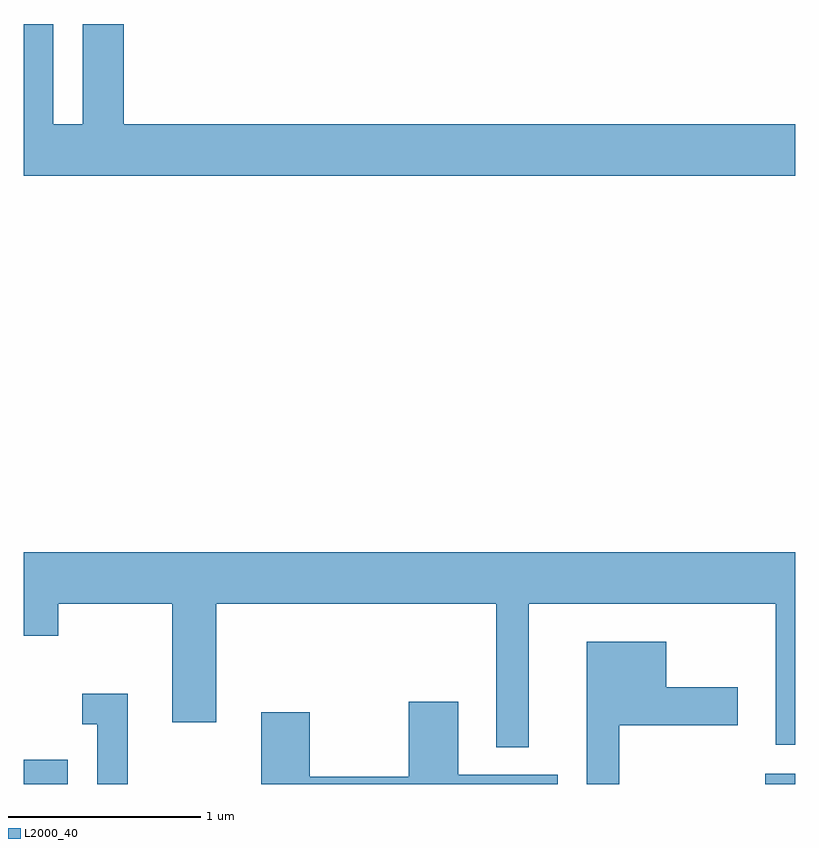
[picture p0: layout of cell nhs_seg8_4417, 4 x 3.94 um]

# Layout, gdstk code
import gdstk
lib = gdstk.Library(unit=1e-6, precision=1e-09)
def R(c, l, rs):  # rectangles x0, y0, x1, y1
    for r in rs: c.add(gdstk.rectangle(r[:2], r[2:], *l))
def P(c, l, *ps):  # polygons
    for p in ps: c.add(gdstk.Polygon(p, *l))
L2000_40 = (2000, 40)

nhs_seg8_4417 = lib.new_cell('nhs_seg8_4417')
R(nhs_seg8_4417, L2000_40, [(317.611,1864.342,317.839,1864.469), (321.456,1864.342,321.611,1864.394)])
P(nhs_seg8_4417, L2000_40, [(321.611,1867.764),(318.129,1867.764),(318.129,1868.284),(317.916,1868.284),(317.916,1867.764),(317.764,1867.764),(317.764,1868.284),(317.611,1868.284),(317.611,1867.496),(321.611,1867.496)],
  [(320.229,1865.276),(321.511,1865.276),(321.511,1864.546),(321.611,1864.546),(321.611,1865.544),(317.611,1865.544),(317.611,1865.111),(317.789,1865.111),(317.789,1865.276),(318.381,1865.276),(318.381,1864.661),(318.609,1864.661),(318.609,1865.276),(320.061,1865.276),(320.061,1864.533),(320.229,1864.533)],
  [(320.699,1864.646),(321.314,1864.646),(321.314,1864.844),(320.944,1864.844),(320.944,1865.079),(320.531,1865.079),(320.531,1864.342),(320.699,1864.342)],
  [(318.149,1864.809),(317.913,1864.809),(317.913,1864.651),(317.991,1864.651),(317.991,1864.342),(318.149,1864.342)],
  [(320.379,1864.389),(319.864,1864.389),(319.864,1864.769),(319.606,1864.769),(319.606,1864.379),(319.094,1864.379),(319.094,1864.714),(318.841,1864.714),(318.841,1864.342),(320.379,1864.342)])

lib.write_gds('nhs_seg8_4417.gds')
